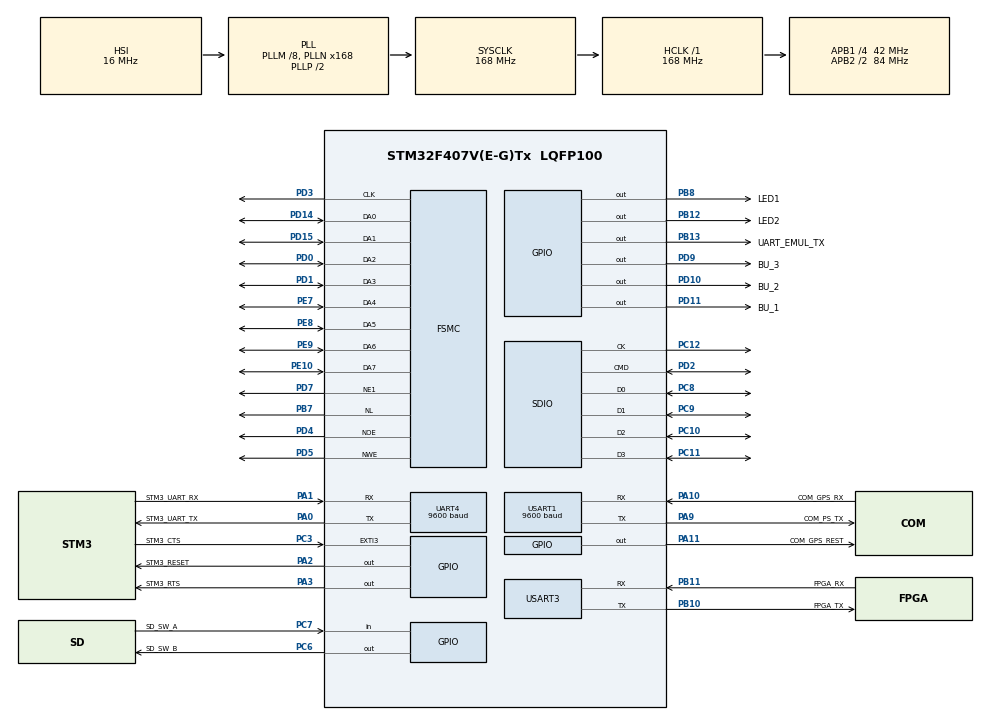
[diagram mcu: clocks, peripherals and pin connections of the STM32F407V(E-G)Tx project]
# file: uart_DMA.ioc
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Dma.Request0=USART1_RX
Dma.Request1=UART4_RX
Dma.Request2=UART4_TX
Dma.Request3=USART3_RX
Dma.Request4=USART3_TX
Dma.UART4_RX.1.Direction=DMA_PERIPH_TO_MEMORY
Dma.UART4_RX.1.FIFOMode=DMA_FIFOMODE_DISABLE
Dma.UART4_RX.1.Instance=DMA1_Stream2
Dma.UART4_RX.1.MemDataAlignment=DMA_MDATAALIGN_BYTE
Dma.UART4_RX.1.MemInc=DMA_MINC_ENABLE
Dma.UART4_RX.1.Mode=DMA_CIRCULAR
Dma.UART4_RX.1.PeriphDataAlignment=DMA_PDATAALIGN_BYTE
Dma.UART4_RX.1.PeriphInc=DMA_PINC_DISABLE
Dma.UART4_RX.1.Priority=DMA_PRIORITY_LOW
Dma.UART4_TX.2.Direction=DMA_MEMORY_TO_PERIPH
Dma.UART4_TX.2.FIFOMode=DMA_FIFOMODE_DISABLE
Dma.UART4_TX.2.Instance=DMA1_Stream4
Dma.UART4_TX.2.MemDataAlignment=DMA_MDATAALIGN_BYTE
Dma.UART4_TX.2.MemInc=DMA_MINC_ENABLE
Dma.UART4_TX.2.Mode=DMA_NORMAL
Dma.UART4_TX.2.PeriphDataAlignment=DMA_PDATAALIGN_BYTE
Dma.UART4_TX.2.PeriphInc=DMA_PINC_DISABLE
Dma.UART4_TX.2.Priority=DMA_PRIORITY_LOW
Dma.USART1_RX.0.Direction=DMA_PERIPH_TO_MEMORY
Dma.USART1_RX.0.FIFOMode=DMA_FIFOMODE_DISABLE
Dma.USART1_RX.0.Instance=DMA2_Stream2
Dma.USART1_RX.0.MemDataAlignment=DMA_MDATAALIGN_BYTE
Dma.USART1_RX.0.MemInc=DMA_MINC_ENABLE
Dma.USART1_RX.0.Mode=DMA_CIRCULAR
Dma.USART1_RX.0.PeriphDataAlignment=DMA_PDATAALIGN_BYTE
Dma.USART1_RX.0.PeriphInc=DMA_PINC_DISABLE
Dma.USART1_RX.0.Priority=DMA_PRIORITY_LOW
Dma.USART3_RX.3.Direction=DMA_PERIPH_TO_MEMORY
Dma.USART3_RX.3.FIFOMode=DMA_FIFOMODE_DISABLE
Dma.USART3_RX.3.Instance=DMA1_Stream1
Dma.USART3_RX.3.MemDataAlignment=DMA_MDATAALIGN_BYTE
Dma.USART3_RX.3.MemInc=DMA_MINC_ENABLE
Dma.USART3_RX.3.Mode=DMA_CIRCULAR
Dma.USART3_RX.3.PeriphDataAlignment=DMA_PDATAALIGN_BYTE
Dma.USART3_RX.3.PeriphInc=DMA_PINC_DISABLE
Dma.USART3_RX.3.Priority=DMA_PRIORITY_LOW
Dma.USART3_TX.4.Direction=DMA_MEMORY_TO_PERIPH
Dma.USART3_TX.4.FIFOMode=DMA_FIFOMODE_DISABLE
Dma.USART3_TX.4.Instance=DMA1_Stream3
Dma.USART3_TX.4.MemDataAlignment=DMA_MDATAALIGN_BYTE
Dma.USART3_TX.4.MemInc=DMA_MINC_ENABLE
Dma.USART3_TX.4.Mode=DMA_NORMAL
Dma.USART3_TX.4.PeriphDataAlignment=DMA_PDATAALIGN_BYTE
Dma.USART3_TX.4.PeriphInc=DMA_PINC_DISABLE
Dma.USART3_TX.4.Priority=DMA_PRIORITY_LOW
Mcu.Family=STM32F4
Mcu.Name=STM32F407V(E-G)Tx
Mcu.Package=LQFP100
NVIC.DMA1_Stream1_IRQn=true\:0\:0\:false\:false\:true
NVIC.DMA1_Stream2_IRQn=true\:0\:0\:false\:false\:true
NVIC.DMA1_Stream3_IRQn=true\:0\:0\:false\:false\:true
NVIC.DMA1_Stream4_IRQn=true\:0\:0\:false\:false\:true
NVIC.DMA2_Stream2_IRQn=true\:0\:0\:false\:false\:true
NVIC.EXTI3_IRQn=true\:0\:0\:false\:false\:true
NVIC.PriorityGroup=NVIC_PRIORITYGROUP_4
NVIC.TIM4_IRQn=true\:0\:0\:false\:false\:true
NVIC.UART4_IRQn=true\:0\:0\:false\:false\:true
NVIC.USART3_IRQn=true\:0\:0\:false\:false\:true
PA0-WKUP.GPIO_Label=STM3_UART_TX
PA0-WKUP.Mode=Asynchronous
PA0-WKUP.Signal=UART4_TX
PA1.GPIO_Label=STM3_UART_RX
PA1.Mode=Asynchronous
PA1.Signal=UART4_RX
PA10.GPIO_Label=COM_GPS_RX
PA10.Mode=Asynchronous
PA10.Signal=USART1_RX
PA11.GPIO_Label=COM_GPS_REST
PA11.Signal=GPIO_Output
PA13.Mode=Serial_Wire
PA13.Signal=SYS_JTMS-SWDIO
PA14.Mode=Serial_Wire
PA14.Signal=SYS_JTCK-SWCLK
PA2.GPIO_Label=STM3_RESET
PA2.Signal=GPIO_Output
PA3.GPIO_Label=STM3_RTS
PA3.Signal=GPIO_Output
PA9.GPIO_Label=COM_PS_TX
PA9.Mode=Asynchronous
PA9.Signal=USART1_TX
PB10.GPIO_Label=FPGA_TX
PB10.Mode=Asynchronous
PB10.Signal=USART3_TX
PB11.GPIO_Label=FPGA_RX
PB11.Mode=Asynchronous
PB11.Signal=USART3_RX
PB12.GPIO_Label=LED2
PB12.PinState=GPIO_PIN_SET
PB12.Signal=GPIO_Output
PB13.GPIO_Label=UART_EMUL_TX
PB13.Signal=GPIO_Output
PB7.Signal=FSMC_NL
PB8.GPIO_Label=LED1
PB8.PinState=GPIO_PIN_SET
PB8.Signal=GPIO_Output
PC10.Mode=SD_4_bits_Wide_bus
PC10.Signal=SDIO_D2
PC11.Mode=SD_4_bits_Wide_bus
PC11.Signal=SDIO_D3
PC12.Mode=SD_4_bits_Wide_bus
PC12.Signal=SDIO_CK
PC3.GPIO_Label=STM3_CTS
PC3.Signal=GPXTI3
PC6.GPIO_Label=SD_SW_B
PC6.Signal=GPIO_Output
PC7.GPIO_Label=SD_SW_A
PC7.Signal=GPIO_Input
PC8.Mode=SD_4_bits_Wide_bus
PC8.Signal=SDIO_D0
PC9.Mode=SD_4_bits_Wide_bus
PC9.Signal=SDIO_D1
PD0.Mode=8b-da1
PD0.Signal=FSMC_DA2
PD1.Mode=8b-da1
PD1.Signal=FSMC_DA3
PD10.GPIO_Label=BU_2
PD10.Signal=GPIO_Output
PD11.GPIO_Label=BU_1
PD11.Signal=GPIO_Output
PD14.Mode=8b-da1
PD14.Signal=FSMC_DA0
PD15.Mode=8b-da1
PD15.Signal=FSMC_DA1
PD2.Mode=SD_4_bits_Wide_bus
PD2.Signal=SDIO_CMD
PD3.Mode=BurstRead1
PD3.Signal=FSMC_CLK
PD4.Mode=MuxedNorFlash1
PD4.Signal=FSMC_NOE
PD5.Mode=MuxedNorFlash1
PD5.Signal=FSMC_NWE
PD7.Mode=NorPsramChipSelect1_1
PD7.Signal=FSMC_NE1
PD9.GPIO_Label=BU_3
PD9.Signal=GPIO_Output
PE10.Mode=8b-da1
PE10.Signal=FSMC_DA7
PE7.Mode=8b-da1
PE7.Signal=FSMC_DA4
PE8.Mode=8b-da1
PE8.Signal=FSMC_DA5
PE9.Mode=8b-da1
PE9.Signal=FSMC_DA6
PH0-OSC_IN.Signal=RCC_OSC_IN
ProjectManager.HeapSize=0x200
ProjectManager.StackSize=0x4000
ProjectManager.TargetToolchain=TrueSTUDIO
RCC.48MHZClocksFreq_Value=48000000
RCC.AHBFreq_Value=168000000
RCC.APB1CLKDivider=RCC_HCLK_DIV4
RCC.APB1Freq_Value=42000000
RCC.APB1TimFreq_Value=84000000
RCC.APB2CLKDivider=RCC_HCLK_DIV2
RCC.APB2Freq_Value=84000000
RCC.APB2TimFreq_Value=168000000
RCC.CortexFreq_Value=168000000
RCC.HCLKFreq_Value=168000000
RCC.HSE_VALUE=25000000
RCC.HSI_VALUE=16000000
RCC.LSE_VALUE=32768
RCC.PLLM=8
RCC.PLLN=168
RCC.PLLQ=7
RCC.SYSCLKFreq_VALUE=168000000
RCC.SYSCLKSource=RCC_SYSCLKSOURCE_PLLCLK
RCC.VCOOutputFreq_Value=336000000
SH.FSMC_NL.0=FSMC_NL,AddressValid1
TIM4.Period=26250
TIM4.Prescaler=256
UART4.BaudRate=9600
UART4.VirtualMode=Asynchronous
USART1.BaudRate=9600
USART1.VirtualMode=VM_ASYNC
USART3.VirtualMode=VM_ASYNC
VP_FATFS_VS_SDIO.Mode=SDIO
VP_TIM4_VS_ClockSourceINT.Mode=Internal
board=uart_DMA

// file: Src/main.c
/**
 ******************************************************************************
 * File Name          : main.c
 * Description        : Main program body
 ******************************************************************************
 * Erik von Keyserlingk 16/11-2017
 * WOLF localization program for REXUS 24
 * The satellite modem, STM3, is on UART4
 * VHF UART is implemented in software, because UART1 and UART5 is used for FSMC
 * FPGA is on UART3
 * Commercial GPS is on UART1
 *
 * How the code works:
 * Using DMA, UART1 (when GPS has power) receives NMEA formated message from GPS.
 * When DMA_TX_UART1_BUFFER is full a flag is set and the buffer is parsed. The
 * correct formated message is stored in; msg_send. msg_send is only updated when
 * a new valid GPS coordinate has been received. For sending a message to STM3
 * the pin PC3 (CTS) is set low and if STM3 answer with pulling PA3 (RTS) low.
 * An interrupt is called and the coordinates (with preamble and CRC) is send to
 * STM3 on UART4.
 *
 * For transmitting data to FPGA use:
 * HAL_UART_Transmit_DMA(&huart3, DATA, LENGTH_OF_DATA, 5)
 *
 *
 */
#include "main.h"
#include "stm32f4xx_hal.h"
#include "fatfs.h"

/* USER CODE BEGIN Includes */
#include "stm32f4xx_hal.h"
#include "dwt_stm32_delay.h"

/* USER CODE END Includes */

SD_HandleTypeDef hsd;

TIM_HandleTypeDef htim4;

UART_HandleTypeDef huart4;
UART_HandleTypeDef huart1;
UART_HandleTypeDef huart3;
DMA_HandleTypeDef hdma_uart4_rx;
DMA_HandleTypeDef hdma_uart4_tx;
DMA_HandleTypeDef hdma_usart1_rx;
DMA_HandleTypeDef hdma_usart3_rx;
DMA_HandleTypeDef hdma_usart3_tx;

NOR_HandleTypeDef hnor1;

/* USER CODE BEGIN PV */
/* Private variables ---------------------------------------------------------*/
#define UART_BUFFER 256
#define PAYLOAD_LENGTH 21
#define STM3_DATA 26 // PAYLOAD_LENGTH +5
#define TIME_LENGTH 6

// UART buffer, data to send and data recived
uint8_t DMA_RX_UART1_BUFFER[UART_BUFFER];
uint8_t DMA_RX_UART3_BUFFER[UART_BUFFER];
uint8_t DMA_RX_UART4_BUFFER[UART_BUFFER];

uint8_t DMA_TX_UART1_BUFFER[UART_BUFFER];
uint8_t DMA_TX_UART3_BUFFER[UART_BUFFER];
uint8_t DMA_TX_UART4_BUFFER[26]  = {0xAA, 0x0E, 0x06 , 0x00 , 0x00 , 0x00 , 0x00 , 0x00 , 0x03 , 0x18 , 0x30 , 0x00 , 0xCB , 0x12};
/*
 * {0xAA, 0x0E, 0x06 , 0x00 , 0x00 , 0x00 , 0x00 , 0x00 , 0x03 , 0x18 , 0x30 , 0x00 , 0xCB , 0x12}; //Channel A
 * {0xAA, 0x0E, 0x06 , 0x00 , 0x00 , 0x00 , 0x00 , 0x01 , 0x03 , 0x01 , 0x03 , 0x00 , 0xCB , 0x12}; //Channel B
 * {0xAA, 0x0E, 0x06 , 0x00 , 0x00 , 0x00 , 0x00 , 0x02 , 0x03 , 0x01 , 0x03 , 0x00 , 0x07 , 0x0F}; //Channel B
 * {0xAA, 0x0E, 0x06 , 0x00 , 0x00 , 0x00 , 0x00 , 0x03 , 0x03 , 0x01 , 0x03 , 0x00 , 0x43 , 0x04}; //Channel B
 */
uint8_t test[14]= {0xAA , 0x0E , 0x00 , 0x02 , 0x02 , 0x03 , 0x04 , 0x05 , 0x06 , 0x07 , 0x08 , 0x09 , 0xBE , 0xE8};

// Flag for when to read from buffer
volatile uint8_t UART1_FULL = 0;
volatile uint8_t UART3_FULL = 0;
volatile uint8_t UART4_FULL = 0;

// Flag for when transmition is finished
volatile uint8_t UART1_DONE = 1;
volatile uint8_t UART3_DONE = 1;
volatile uint8_t UART4_DONE = 1;

TIM_HandleTypeDef TIM_Handle;

/* USER CODE END PV */

void SystemClock_Config(void);
static void MX_GPIO_Init(void);
static void MX_DMA_Init(void);
static void MX_FSMC_Init(void);
static void MX_SDIO_SD_Init(void);
static void MX_UART4_Init(void);
static void MX_USART1_UART_Init(void);
static void MX_USART3_UART_Init(void);
static void MX_TIM4_Init(void);

/* USER CODE BEGIN PFP */
/* Private function prototypes -----------------------------------------------*/
uint16_t CrcCalculate(uint8_t* array, uint8_t length);
uint8_t * parse_nmea(uint8_t* uart_buffer);
void send_to_stm3(uint8_t* send_stm3, uint8_t data_length);
void send_to_VHF(uint8_t* Data, uint8_t data_length);
void time_log(uint8_t *time);
/* USER CODE END PFP */

	int main(void) {

	/* MCU Configuration----------------------------------------------------------*/

	/* Reset of all peripherals, Initializes the Flash interface and the Systick. */
	HAL_Init();

	/* Configure the system clock */
	SystemClock_Config();

	/* Initialize all configured peripherals */
	MX_GPIO_Init();
	MX_DMA_Init();
	MX_FSMC_Init();
	MX_SDIO_SD_Init();
	MX_UART4_Init();
	MX_USART1_UART_Init();
	MX_USART3_UART_Init();
	MX_FATFS_Init();
	MX_TIM4_Init();

	/* USER CODE BEGIN 2 */

	// Enable interrupt for CTS from STM3
	HAL_TIM_Base_Start_IT(&htim4);
	HAL_NVIC_SetPriority(TIM4_IRQn, 2, 2);
	HAL_NVIC_EnableIRQ(TIM4_IRQn);

	// Initi Uart reciver
	HAL_UART_Receive_DMA(&huart1, DMA_RX_UART1_BUFFER, UART_BUFFER);
	HAL_UART_Receive_DMA(&huart3, DMA_RX_UART3_BUFFER, UART_BUFFER);
	HAL_UART_Receive_DMA(&huart4, DMA_RX_UART4_BUFFER, UART_BUFFER);

	if (DWT_Delay_Init()) {
		Error_Handler(); /* Call Error Handler */
	}

	HAL_GPIO_TogglePin(GPIOA, COM_GPS_REST_Pin);
	HAL_GPIO_WritePin(GPIOA, STM3_RTS_Pin, GPIO_PIN_SET);
	HAL_GPIO_WritePin(GPIOB, LED1_Pin, GPIO_PIN_RESET);
	HAL_GPIO_WritePin(GPIOB, LED2_Pin, GPIO_PIN_RESET);
	HAL_GPIO_WritePin(GPIOA, STM3_RESET_Pin, GPIO_PIN_SET);
	HAL_GPIO_TogglePin(GPIOA, STM3_RESET_Pin);
	HAL_Delay(100);
	HAL_GPIO_TogglePin(GPIOA, STM3_RESET_Pin);

	/* USER CODE END 2 */

	/* Infinite loop */
	/* USER CODE BEGIN WHILE */
	//uint8_t Data[12] = {0x48, 0x65, 0x6c, 0x6c, 0x6f, 0x20, 0x57, 0x6f, 0x72, 0x6c, 0x64, 0x21} ;
	//uint8_t setup_msg[10] = {0xAA, 0x0E, 0x06, 0x00, 0x00, 0x00, 0x00, 0x00, 0x03, 0x09, 0x18, 0x00};
	uint8_t msg_send[PAYLOAD_LENGTH];
	uint8_t time[TIME_LENGTH];

	while (1) {
		HAL_Delay(10);
		/* USER CODE END WHILE */

		/* USER CODE BEGIN 3 */
		if (UART1_FULL == 1) { //Com GPS
			//HAL_GPIO_TogglePin(GPIOB, LED2_Pin);
			//HAL_UART_Transmit_DMA(&huart3, &time, TIME_LENGTH);
			//HAL_UART_Transmit_DMA(&huart3, DMA_RX_UART1_BUFFER, PAYLOAD_LENGTH);

			// Parses the received message from commercial GPS
			uint8_t *coordinates = parse_nmea(DMA_RX_UART1_BUFFER);

			//HAL_UART_Transmit_DMA(&huart3, coordinates, PAYLOAD_LENGTH+6);

			// Check for a new valid coordinate message
			if (coordinates[PAYLOAD_LENGTH - 1] != '\0') {
				for (int i = 0; i < PAYLOAD_LENGTH; i++) {
					msg_send[i] = coordinates[i];
				}
				for (int i = 0; i < TIME_LENGTH; i++){
					time [i] = coordinates[21+i];
				}
			}

			// Updates the message to be send to STM3
			send_to_stm3(msg_send, PAYLOAD_LENGTH);
			memset(&coordinates[0], '\0', PAYLOAD_LENGTH);
			UART1_FULL = 0;
		}
		if (UART3_FULL == 1) { //FPGA
			//HAL_UART_Transmit(&huart3,DMA_RX_UART3_BUFFER , UART_BUFFER,5);
			//HAL_GPIO_TogglePin(GPIOB, LED2_Pin);
			UART3_FULL = 0;
		}
		if (UART4_FULL == 1) {		  //STM3
			//HAL_UART_Transmit(&huart3,DMA_RX_UART4_BUFFER , UART_BUFFER,5);
			//HAL_GPIO_TogglePin(GPIOB, LED2_Pin);
			UART4_FULL = 0;
		}

		// Set pin low for request to send to STM3
		HAL_GPIO_WritePin(GPIOA, STM3_RTS_Pin, GPIO_PIN_RESET);
		HAL_GPIO_TogglePin(GPIOB, LED1_Pin);

		// send coordinates message to VHF transmitter
		send_to_VHF(msg_send, PAYLOAD_LENGTH);
		time_log(&time);

	}
	/* USER CODE END 3 */

}

/** System Clock Configuration
 */
void SystemClock_Config(void) {

	RCC_OscInitTypeDef RCC_OscInitStruct;
	RCC_ClkInitTypeDef RCC_ClkInitStruct;

	/**Configure the main internal regulator output voltage
	 */
	__HAL_RCC_PWR_CLK_ENABLE()
	;

	__HAL_PWR_VOLTAGESCALING_CONFIG(PWR_REGULATOR_VOLTAGE_SCALE1);

	/**Initializes the CPU, AHB and APB busses clocks
	 */
	RCC_OscInitStruct.OscillatorType = RCC_OSCILLATORTYPE_HSI;
	RCC_OscInitStruct.HSIState = RCC_HSI_ON;
	RCC_OscInitStruct.HSICalibrationValue = 16;
	RCC_OscInitStruct.PLL.PLLState = RCC_PLL_ON;
	RCC_OscInitStruct.PLL.PLLSource = RCC_PLLSOURCE_HSI;
	RCC_OscInitStruct.PLL.PLLM = 8;
	RCC_OscInitStruct.PLL.PLLN = 168;
	RCC_OscInitStruct.PLL.PLLP = RCC_PLLP_DIV2;
	RCC_OscInitStruct.PLL.PLLQ = 7;
	if (HAL_RCC_OscConfig(&RCC_OscInitStruct) != HAL_OK) {
		_Error_Handler(__FILE__, __LINE__);
	}

	/**Initializes the CPU, AHB and APB busses clocks
	 */
	RCC_ClkInitStruct.ClockType = RCC_CLOCKTYPE_HCLK | RCC_CLOCKTYPE_SYSCLK
			| RCC_CLOCKTYPE_PCLK1 | RCC_CLOCKTYPE_PCLK2;
	RCC_ClkInitStruct.SYSCLKSource = RCC_SYSCLKSOURCE_PLLCLK;
	RCC_ClkInitStruct.AHBCLKDivider = RCC_SYSCLK_DIV1;
	RCC_ClkInitStruct.APB1CLKDivider = RCC_HCLK_DIV4;
	RCC_ClkInitStruct.APB2CLKDivider = RCC_HCLK_DIV2;

	if (HAL_RCC_ClockConfig(&RCC_ClkInitStruct, FLASH_LATENCY_5) != HAL_OK) {
		_Error_Handler(__FILE__, __LINE__);
	}

	/**Configure the Systick interrupt time
	 */
	HAL_SYSTICK_Config(HAL_RCC_GetHCLKFreq() / 1000);

	/**Configure the Systick
	 */
	HAL_SYSTICK_CLKSourceConfig(SYSTICK_CLKSOURCE_HCLK);

	/* SysTick_IRQn interrupt configuration */
	HAL_NVIC_SetPriority(SysTick_IRQn, 0, 0);
}

/* SDIO init function */
static void MX_SDIO_SD_Init(void) {

	hsd.Instance = SDIO;
	hsd.Init.ClockEdge = SDIO_CLOCK_EDGE_RISING;
	hsd.Init.ClockBypass = SDIO_CLOCK_BYPASS_DISABLE;
	hsd.Init.ClockPowerSave = SDIO_CLOCK_POWER_SAVE_DISABLE;
	hsd.Init.BusWide = SDIO_BUS_WIDE_1B;
	hsd.Init.HardwareFlowControl = SDIO_HARDWARE_FLOW_CONTROL_DISABLE;
	hsd.Init.ClockDiv = 0;

}

/* TIM4 init function */
static void MX_TIM4_Init(void) {

	TIM_ClockConfigTypeDef sClockSourceConfig;
	TIM_MasterConfigTypeDef sMasterConfig;

	htim4.Instance = TIM4;
	htim4.Init.Prescaler = 256;
	htim4.Init.CounterMode = TIM_COUNTERMODE_UP;
	htim4.Init.Period = 26250;
	htim4.Init.ClockDivision = TIM_CLOCKDIVISION_DIV1;
	if (HAL_TIM_Base_Init(&htim4) != HAL_OK) {
		_Error_Handler(__FILE__, __LINE__);
	}

	sClockSourceConfig.ClockSource = TIM_CLOCKSOURCE_INTERNAL;
	if (HAL_TIM_ConfigClockSource(&htim4, &sClockSourceConfig) != HAL_OK) {
		_Error_Handler(__FILE__, __LINE__);
	}

	sMasterConfig.MasterOutputTrigger = TIM_TRGO_RESET;
	sMasterConfig.MasterSlaveMode = TIM_MASTERSLAVEMODE_DISABLE;
	if (HAL_TIMEx_MasterConfigSynchronization(&htim4, &sMasterConfig)
			!= HAL_OK) {
		_Error_Handler(__FILE__, __LINE__);
	}

}

/* UART4 init function */
static void MX_UART4_Init(void) {

	huart4.Instance = UART4;
	huart4.Init.BaudRate = 9600;
	huart4.Init.WordLength = UART_WORDLENGTH_8B;
	huart4.Init.StopBits = UART_STOPBITS_1;
	huart4.Init.Parity = UART_PARITY_NONE;
	huart4.Init.Mode = UART_MODE_TX_RX;
	huart4.Init.HwFlowCtl = UART_HWCONTROL_NONE;
	huart4.Init.OverSampling = UART_OVERSAMPLING_16;
	if (HAL_UART_Init(&huart4) != HAL_OK) {
		_Error_Handler(__FILE__, __LINE__);
	}

}

/* USART1 init function */
static void MX_USART1_UART_Init(void) {

	huart1.Instance = USART1;
	huart1.Init.BaudRate = 9600;
	huart1.Init.WordLength = UART_WORDLENGTH_8B;
	huart1.Init.StopBits = UART_STOPBITS_1;
	huart1.Init.Parity = UART_PARITY_NONE;
	huart1.Init.Mode = UART_MODE_TX_RX;
	huart1.Init.HwFlowCtl = UART_HWCONTROL_NONE;
	huart1.Init.OverSampling = UART_OVERSAMPLING_16;
	if (HAL_UART_Init(&huart1) != HAL_OK) {
		_Error_Handler(__FILE__, __LINE__);
	}

}

/* USART3 init function */
static void MX_USART3_UART_Init(void) {

	huart3.Instance = USART3;
	huart3.Init.BaudRate = 115200;
	huart3.Init.WordLength = UART_WORDLENGTH_8B;
	huart3.Init.StopBits = UART_STOPBITS_1;
	huart3.Init.Parity = UART_PARITY_NONE;
	huart3.Init.Mode = UART_MODE_TX_RX;
	huart3.Init.HwFlowCtl = UART_HWCONTROL_NONE;
	huart3.Init.OverSampling = UART_OVERSAMPLING_16;
	if (HAL_UART_Init(&huart3) != HAL_OK) {
		_Error_Handler(__FILE__, __LINE__);
	}

}

static void MX_DMA_Init(void) {
	/* DMA controller clock enable */
	__HAL_RCC_DMA2_CLK_ENABLE()
	;
	__HAL_RCC_DMA1_CLK_ENABLE()
	;

	/* DMA interrupt init */
	/* DMA1_Stream1_IRQn interrupt configuration */
	HAL_NVIC_SetPriority(DMA1_Stream1_IRQn, 0, 0);
	HAL_NVIC_EnableIRQ(DMA1_Stream1_IRQn);
	/* DMA1_Stream2_IRQn interrupt configuration */
	HAL_NVIC_SetPriority(DMA1_Stream2_IRQn, 0, 0);
	HAL_NVIC_EnableIRQ(DMA1_Stream2_IRQn);
	/* DMA1_Stream3_IRQn interrupt configuration */
	HAL_NVIC_SetPriority(DMA1_Stream3_IRQn, 0, 0);
	HAL_NVIC_EnableIRQ(DMA1_Stream3_IRQn);
	/* DMA1_Stream4_IRQn interrupt configuration */
	HAL_NVIC_SetPriority(DMA1_Stream4_IRQn, 0, 0);
	HAL_NVIC_EnableIRQ(DMA1_Stream4_IRQn);
	/* DMA2_Stream2_IRQn interrupt configuration */
	HAL_NVIC_SetPriority(DMA2_Stream2_IRQn, 0, 0);
	HAL_NVIC_EnableIRQ(DMA2_Stream2_IRQn);

}

/** Configure pins as
 * Analog
 * Input
 * Output
 * EVENT_OUT
 * EXTI
 */
static void MX_GPIO_Init(void) {

	GPIO_InitTypeDef GPIO_InitStruct;

	/* GPIO Ports Clock Enable */
	__HAL_RCC_GPIOH_CLK_ENABLE()
	;
	__HAL_RCC_GPIOC_CLK_ENABLE()
	;
	__HAL_RCC_GPIOA_CLK_ENABLE()
	;
	__HAL_RCC_GPIOE_CLK_ENABLE()
	;
	__HAL_RCC_GPIOB_CLK_ENABLE()
	;
	__HAL_RCC_GPIOD_CLK_ENABLE()
	;

	/*Configure GPIO pin Output Level */
	HAL_GPIO_WritePin(GPIOA, STM3_RESET_Pin | STM3_RTS_Pin | COM_GPS_REST_Pin,
			GPIO_PIN_RESET);

	/*Configure GPIO pin Output Level */
	HAL_GPIO_WritePin(GPIOB, LED2_Pin | LED1_Pin, GPIO_PIN_SET);

	/*Configure GPIO pin Output Level */
	HAL_GPIO_WritePin(UART_EMUL_TX_GPIO_Port, UART_EMUL_TX_Pin, GPIO_PIN_RESET);

	/*Configure GPIO pin Output Level */
	HAL_GPIO_WritePin(GPIOD, BU_3_Pin | BU_2_Pin | BU_1_Pin, GPIO_PIN_RESET);

	/*Configure GPIO pin Output Level */
	HAL_GPIO_WritePin(SD_SW_B_GPIO_Port, SD_SW_B_Pin, GPIO_PIN_RESET);

	/*Configure GPIO pin : STM3_CTS_Pin */
	GPIO_InitStruct.Pin = STM3_CTS_Pin;
	GPIO_InitStruct.Mode = GPIO_MODE_IT_FALLING;
	GPIO_InitStruct.Pull = GPIO_NOPULL;
	HAL_GPIO_Init(STM3_CTS_GPIO_Port, &GPIO_InitStruct);

	/*Configure GPIO pins : STM3_RESET_Pin STM3_RTS_Pin COM_GPS_REST_Pin */
	GPIO_InitStruct.Pin = STM3_RESET_Pin | STM3_RTS_Pin | COM_GPS_REST_Pin;
	GPIO_InitStruct.Mode = GPIO_MODE_OUTPUT_PP;
	GPIO_InitStruct.Pull = GPIO_NOPULL;
	GPIO_InitStruct.Speed = GPIO_SPEED_FREQ_LOW;
	HAL_GPIO_Init(GPIOA, &GPIO_InitStruct);

	/*Configure GPIO pins : LED2_Pin UART_EMUL_TX_Pin LED1_Pin */
	GPIO_InitStruct.Pin = LED2_Pin | UART_EMUL_TX_Pin | LED1_Pin;
	GPIO_InitStruct.Mode = GPIO_MODE_OUTPUT_PP;
	GPIO_InitStruct.Pull = GPIO_NOPULL;
	GPIO_InitStruct.Speed = GPIO_SPEED_FREQ_LOW;
	HAL_GPIO_Init(GPIOB, &GPIO_InitStruct);

	/*Configure GPIO pins : BU_3_Pin BU_2_Pin BU_1_Pin */
	GPIO_InitStruct.Pin = BU_3_Pin | BU_2_Pin | BU_1_Pin;
	GPIO_InitStruct.Mode = GPIO_MODE_OUTPUT_PP;
	GPIO_InitStruct.Pull = GPIO_NOPULL;
	GPIO_InitStruct.Speed = GPIO_SPEED_FREQ_LOW;
	HAL_GPIO_Init(GPIOD, &GPIO_InitStruct);

	/*Configure GPIO pin : SD_SW_B_Pin */
	GPIO_InitStruct.Pin = SD_SW_B_Pin;
	GPIO_InitStruct.Mode = GPIO_MODE_OUTPUT_PP;
	GPIO_InitStruct.Pull = GPIO_NOPULL;
	GPIO_InitStruct.Speed = GPIO_SPEED_FREQ_LOW;
	HAL_GPIO_Init(SD_SW_B_GPIO_Port, &GPIO_InitStruct);

	/*Configure GPIO pin : SD_SW_A_Pin */
	GPIO_InitStruct.Pin = SD_SW_A_Pin;
	GPIO_InitStruct.Mode = GPIO_MODE_INPUT;
	GPIO_InitStruct.Pull = GPIO_NOPULL;
	HAL_GPIO_Init(SD_SW_A_GPIO_Port, &GPIO_InitStruct);

	/* EXTI interrupt init*/
	HAL_NVIC_SetPriority(EXTI3_IRQn, 0, 0);
	HAL_NVIC_EnableIRQ(EXTI3_IRQn);

}

/* FSMC initialization function */
static void MX_FSMC_Init(void) {
	FSMC_NORSRAM_TimingTypeDef Timing;

	/** Perform the NOR1 memory initialization sequence
	 */
	hnor1.Instance = FSMC_NORSRAM_DEVICE;
	hnor1.Extended = FSMC_NORSRAM_EXTENDED_DEVICE;
	/* hnor1.Init */
	hnor1.Init.NSBank = FSMC_NORSRAM_BANK1;
	hnor1.Init.DataAddressMux = FSMC_DATA_ADDRESS_MUX_ENABLE;
	hnor1.Init.MemoryType = FSMC_MEMORY_TYPE_NOR;
	hnor1.Init.MemoryDataWidth = FSMC_NORSRAM_MEM_BUS_WIDTH_8;
	hnor1.Init.BurstAccessMode = FSMC_BURST_ACCESS_MODE_ENABLE;
	hnor1.Init.WaitSignalPolarity = FSMC_WAIT_SIGNAL_POLARITY_LOW;
	hnor1.Init.WrapMode = FSMC_WRAP_MODE_DISABLE;
	hnor1.Init.WaitSignalActive = FSMC_WAIT_TIMING_BEFORE_WS;
	hnor1.Init.WriteOperation = FSMC_WRITE_OPERATION_DISABLE;
	hnor1.Init.WaitSignal = FSMC_WAIT_SIGNAL_DISABLE;
	hnor1.Init.ExtendedMode = FSMC_EXTENDED_MODE_DISABLE;
	hnor1.Init.AsynchronousWait = FSMC_ASYNCHRONOUS_WAIT_DISABLE;
	hnor1.Init.WriteBurst = FSMC_WRITE_BURST_DISABLE;
	hnor1.Init.PageSize = FSMC_PAGE_SIZE_NONE;
	/* Timing */
	Timing.AddressSetupTime = 15;
	Timing.AddressHoldTime = 15;
	Timing.DataSetupTime = 255;
	Timing.BusTurnAroundDuration = 15;
	Timing.CLKDivision = 16;
	Timing.DataLatency = 17;
	Timing.AccessMode = FSMC_ACCESS_MODE_A;
	/* ExtTiming */

	if (HAL_NOR_Init(&hnor1, &Timing, NULL) != HAL_OK) {
		_Error_Handler(__FILE__, __LINE__);
	}

}

/* USER CODE BEGIN 4 */

/*
 * Sends the time for when STM3 did send its message on UART3 (FPGA)
 */
void time_log(uint8_t* time) {

	for (int i = 0; i < UART_BUFFER; i++) {

		// Response for a valid message received by STM3: AA 05 00 D9 C4
		if (DMA_RX_UART4_BUFFER[i] == (int) 0x00 && DMA_RX_UART4_BUFFER[i + 1] == (int) 0xD9
						&& DMA_RX_UART4_BUFFER[i + 2] == (int) 0xC4) {
			HAL_UART_Transmit_DMA(&huart3, time, TIME_LENGTH);

		}
	}
	memset(&DMA_RX_UART4_BUFFER, 0x00, UART_BUFFER );
}

/*
 * send_to_VHF is a soft UART and send on 2400 baud, change us to change the baud rate
 * 416us 2400 baud
 * 208us 4800 baud
 * 104us 9600 baud
 */
void send_to_VHF(uint8_t* Data, uint8_t data_length) {

	HAL_GPIO_TogglePin(GPIOB, LED2_Pin);

	// Delay for uart at 2400 baud
	int us = 416;
	for (uint8_t i = 0; i < data_length; i++) {
		HAL_GPIO_WritePin(GPIOB, UART_EMUL_TX_Pin, GPIO_PIN_RESET);
		DWT_Delay_us(us);
		uint8_t byte = Data[i];
		for (uint8_t u = 0; u < 8; u++) {
			if (((byte >> u) & 0x1) == 0x1) {
				HAL_GPIO_WritePin(GPIOB, UART_EMUL_TX_Pin, GPIO_PIN_SET);
			}
			if (((byte >> u) & 0x01) == 0x00) {
				HAL_GPIO_WritePin(GPIOB, UART_EMUL_TX_Pin, GPIO_PIN_RESET);
			}

			DWT_Delay_us(us);
		}
		HAL_GPIO_WritePin(GPIOB, UART_EMUL_TX_Pin, GPIO_PIN_SET);
		DWT_Delay_us(us);
	}
	HAL_GPIO_TogglePin(GPIOB, LED2_Pin);
}

/*
 * send_to_stm3 takes adds required preamble bytes and CRC to UART4_buffer
 */
void send_to_stm3(uint8_t* send_stm3, uint8_t data_length) {
	static uint8_t message[STM3_DATA];
	//*message = (uint8_t*)malloc(sizeof(uint8_t)*(data_length+5));
	//uint8_t length = data_length+3;
	message[0] = 0xAA;
	message[1] = 0x1A; // 0x1A = 26
	message[2] = 0x00;
	for (int i = 0; i < data_length; i++) {
		message[i + 3] = send_stm3[i]; //send_stm3[i];
	}

	uint8_t CRC_array[2];

	uint16_t crc = CrcCalculate(message, 24);
	message[24] = crc & 0xff;
	message[25] = (crc >> 8);

	for (int i = 0; i < STM3_DATA; i++) {
		DMA_TX_UART4_BUFFER[i] = message[i];
	}
}

/*
 * Parses the received message from the commercial GPS into valid coordinates
 */
uint8_t * parse_nmea(uint8_t* uart_buffer) {
	static uint8_t send_stm3[27]; // 21 for only coordinates 27 with time, 6 last is the time

	int send_index = 0;
	int time_index = 0;

	for (int i = 0; i < UART_BUFFER; i++) {
		if (uart_buffer[i] == (int) 'G' && uart_buffer[i + 1] == (int) 'G'
				&& uart_buffer[i + 2] == (int) 'A') {
			//HAL_UART_Transmit(&huart3, &uart_command[i+1], 1, 5);
			int numb_comma = 0;
			//HAL_UART_Transmit(&huart3, (int)'¤', 1, 5);
			for (i = i + 2; i < UART_BUFFER; i++) {
				if (uart_buffer[i] == (int) ',') {
					numb_comma++;
					i++;
				}
				if (uart_buffer[i] == (int) '.') {
					i++;
				}
				if(numb_comma == 1){
					send_stm3[time_index+21] = uart_buffer[i];
					time_index++;
				}
				if (numb_comma >= 2 && uart_buffer[i] != (int) ',') { //
				//HAL_UART_Transmit(&huart3, &uart_buffer[i], 1, 5);
					send_stm3[send_index] = uart_buffer[i];
					send_index++;
				}
				if (numb_comma == 6) {
					i = UART_BUFFER;
				}
			}
			i = UART_BUFFER;
		}
	}

	send_index = 0;
	return send_stm3;
}

// Computes 16 bit CRC value for an array of bytes using the polynomial
// selected for the STM3. The first argument is a pointer to the array of data
// that the function should compute the CRC for. The second argument is the
// number of bytes in that array. The function returns the CRC, ready for
// insertion into a command to the STM3 or for comparison against a response
// from the STM3.
//
// MISRA C types are used to clearly communicate the size of the variables.
//
uint16_t CrcCalculate(uint8_t* array, uint8_t length) {
	uint16_t crc = 0xFFFF;
	uint8_t x;
	// Step through each byte in the array.
	while (length--) {
		// XOR the CRC with the next byte in the array.
		crc = crc ^ (uint16_t) *array++;
		// Step through each bit in the byte.
		for (x = 0; x < 8; x++) {
			if (crc & 0x0001)
				crc = (crc >> 1) ^ 0x8408;
			else
				crc >>= 1;
		}
	}
	// Invert and return the calculated CRC.
	return ~crc;
}
/* USER CODE END 4 */

void _Error_Handler(char * file, int line) {
	while (1) {
	}
}

/************************ (C) COPYRIGHT STMicroelectronics *****END OF FILE****/
